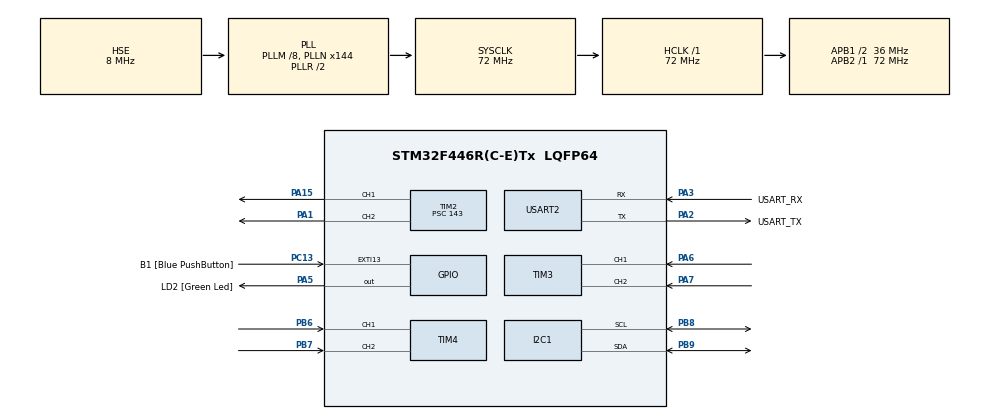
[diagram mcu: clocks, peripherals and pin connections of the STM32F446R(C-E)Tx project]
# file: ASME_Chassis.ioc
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Mcu.Family=STM32F4
Mcu.Name=STM32F446R(C-E)Tx
Mcu.Package=LQFP64
NVIC.PriorityGroup=NVIC_PRIORITYGROUP_0
NVIC.TIM3_IRQn=true\:0\:0\:false\:false\:true\:true\:true\:true
NVIC.TIM4_IRQn=true\:0\:0\:false\:false\:true\:true\:true\:true
PA1.Signal=S_TIM2_CH2
PA13.GPIO_Label=TMS
PA13.Mode=Serial_Wire
PA13.Signal=SYS_JTMS-SWDIO
PA14.GPIO_Label=TCK
PA14.Mode=Serial_Wire
PA14.Signal=SYS_JTCK-SWCLK
PA15.Signal=S_TIM2_CH1_ETR
PA2.GPIO_Label=USART_TX
PA2.Mode=Asynchronous
PA2.Signal=USART2_TX
PA3.GPIO_Label=USART_RX
PA3.Mode=Asynchronous
PA3.Signal=USART2_RX
PA5.GPIO_Label=LD2 [Green Led]
PA5.Signal=GPIO_Output
PA6.GPIO_PuPd=GPIO_PULLUP
PA6.Signal=S_TIM3_CH1
PA7.GPIO_PuPd=GPIO_PULLUP
PA7.Signal=S_TIM3_CH2
PB3.GPIO_Label=SWO
PB3.Signal=SYS_JTDO-SWO
PB6.GPIO_PuPd=GPIO_PULLUP
PB6.Signal=S_TIM4_CH1
PB7.GPIO_PuPd=GPIO_PULLUP
PB7.Signal=S_TIM4_CH2
PB8.Mode=I2C
PB8.Signal=I2C1_SCL
PB9.Mode=I2C
PB9.Signal=I2C1_SDA
PC13.GPIO_Label=B1 [Blue PushButton]
PC13.GPIO_ModeDefaultEXTI=GPIO_MODE_IT_FALLING
PC13.Signal=GPXTI13
PC14-OSC32_IN.Mode=LSE-External-Oscillator
PC14-OSC32_IN.Signal=RCC_OSC32_IN
PC15-OSC32_OUT.Mode=LSE-External-Oscillator
PC15-OSC32_OUT.Signal=RCC_OSC32_OUT
PH0-OSC_IN.Mode=HSE-External-Oscillator
PH0-OSC_IN.Signal=RCC_OSC_IN
PH1-OSC_OUT.Mode=HSE-External-Oscillator
PH1-OSC_OUT.Signal=RCC_OSC_OUT
ProjectManager.HeapSize=0x200
ProjectManager.StackSize=0x400
ProjectManager.TargetToolchain=CMake
RCC.48MHZClocksFreq_Value=84000000
RCC.AHBFreq_Value=72000000
RCC.APB1CLKDivider=RCC_HCLK_DIV2
RCC.APB1Freq_Value=36000000
RCC.APB1TimFreq_Value=72000000
RCC.APB2Freq_Value=72000000
RCC.APB2TimFreq_Value=72000000
RCC.CortexFreq_Value=72000000
RCC.FLatency-AdvancedSettings=FLASH_LATENCY_2
RCC.HCLKFreq_Value=72000000
RCC.HSE_VALUE=8000000
RCC.HSI_VALUE=16000000
RCC.PLLM=8
RCC.PLLN=144
RCC.PLLP=RCC_PLLP_DIV4
RCC.PLLSourceVirtual=RCC_PLLSOURCE_HSE
RCC.SYSCLKFreq_VALUE=72000000
RCC.SYSCLKSource=RCC_SYSCLKSOURCE_PLLRCLK
RCC.USBFreq_Value=72000000
RCC.VCOOutputFreq_Value=144000000
SH.S_TIM2_CH1_ETR.0=TIM2_CH1,PWM Generation1 CH1
SH.S_TIM2_CH2.0=TIM2_CH2,PWM Generation2 CH2
SH.S_TIM3_CH1.0=TIM3_CH1,Encoder_Interface
SH.S_TIM3_CH2.0=TIM3_CH2,Encoder_Interface
SH.S_TIM4_CH1.0=TIM4_CH1,Encoder_Interface
SH.S_TIM4_CH2.0=TIM4_CH2,Encoder_Interface
TIM2.AutoReloadPreload=TIM_AUTORELOAD_PRELOAD_ENABLE
TIM2.Channel-PWM\ Generation1\ CH1=TIM_CHANNEL_1
TIM2.Channel-PWM\ Generation2\ CH2=TIM_CHANNEL_2
TIM2.ClockDivision=TIM_CLOCKDIVISION_DIV1
TIM2.CounterMode=TIM_COUNTERMODE_UP
TIM2.OC1Preload_PWM=DISABLE
TIM2.OCPolarity_1=TIM_OCPOLARITY_LOW
TIM2.Period=9999
TIM2.Prescaler=143
TIM3.EncoderMode=TIM_ENCODERMODE_TI12
TIM4.EncoderMode=TIM_ENCODERMODE_TI12
USART2.VirtualMode=VM_ASYNC
VP_TIM2_VS_ClockSourceINT.Mode=Internal
board=NUCLEO-F446RE

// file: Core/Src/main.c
/* USER CODE BEGIN Header */
/**
  ******************************************************************************
  * @file           : main.c
  * @brief          : Main program body
  ******************************************************************************
  * @attention
  *
  * Copyright (c) 2025 STMicroelectronics.
  * All rights reserved.
  *
  * This software is licensed under terms that can be found in the LICENSE file
  * in the root directory of this software component.
  * If no LICENSE file comes with this software, it is provided AS-IS.
  *
  ******************************************************************************
  */
/* USER CODE END Header */
#include "main.h"

/* USER CODE BEGIN Includes */
#include "PID.h"
#include "VL53L0X.h"
#include "L298N.h"
/* USER CODE END Includes */

I2C_HandleTypeDef hi2c1;

TIM_HandleTypeDef htim2;
TIM_HandleTypeDef htim3;
TIM_HandleTypeDef htim4;

UART_HandleTypeDef huart2;

/* USER CODE BEGIN PV */
double check = 0;
/* USER CODE END PV */

void SystemClock_Config(void);
static void MX_GPIO_Init(void);
static void MX_USART2_UART_Init(void);
static void MX_I2C1_Init(void);
static void MX_TIM2_Init(void);
static void MX_TIM3_Init(void);
static void MX_TIM4_Init(void);

int main(void)
{

  /* MCU Configuration--------------------------------------------------------*/

  /* Reset of all peripherals, Initializes the Flash interface and the Systick. */
  HAL_Init();

  /* Configure the system clock */
  SystemClock_Config();

  /* Initialize all configured peripherals */
  MX_GPIO_Init();
  MX_USART2_UART_Init();
  MX_I2C1_Init();
  MX_TIM2_Init();
  MX_TIM3_Init();
  MX_TIM4_Init();
  /* USER CODE BEGIN 2 */

  // Encoder start
  HAL_TIM_Encoder_Start(&htim3, TIM_CHANNEL_ALL);
  HAL_TIM_Encoder_Start(&htim4, TIM_CHANNEL_ALL);

  // Wheel speed variables
  int left_wheel_speed = 0;
  int right_wheel_speed = 0;

  // 初始化 PID：給定 Kp, Ki, Kd, 輸出上下限

  PIDController_t pid;
  PID_Init(&pid, 1.0, 0.1, 0.1, -100.0, 100.0);//Kp, Ki, Kd, outputMin, outputMax

  float targetDistance = 0; // target distance
  double currentDistance = 500;
  float dt = 0.01;          // 10 ms per control cycle
  float duty_ratio = 60;    // init duty ratio
/*
	// Initialize the VL53L0X
	statInfo_t_VL53L0X distanceStr;
	initVL53L0X(1, &hi2c1);
  check = 11;

	// Configure the sensor for high accuracy and speed in 20 cm.
	setSignalRateLimit(100);
  check = 12;
	setVcselPulsePeriod(VcselPeriodPreRange, 18);
  check = 20;
	setVcselPulsePeriod(VcselPeriodFinalRange, 14);
  check = 30;
	setMeasurementTimingBudget(300 * 1000UL);
*/

  /* USER CODE END 2 */

  /* Infinite loop */
  /* USER CODE BEGIN WHILE */
  while (1)
  {

    // Read the distance from the sensor
    //currentDistance = readRangeSingleMillimeters(&distanceStr);

    // Compute the PID output
    float PID_output = PID_Compute(&pid, targetDistance, currentDistance, dt);
    duty_ratio += PID_output;

    // Set the limit of duty ratio
    if (duty_ratio > 100)
    {
        duty_ratio = 100;
    }
    else if (duty_ratio < 0)
    {
        duty_ratio = 0;
    }

    check = PID_output;

    // Set the motor speed
    Speed_setting(htim2, 60, 0);

    // Delay for 10 ms
    HAL_Delay(10);

    /* USER CODE END WHILE */

  }
}

void SystemClock_Config(void)
{
  RCC_OscInitTypeDef RCC_OscInitStruct = {0};
  RCC_ClkInitTypeDef RCC_ClkInitStruct = {0};

  /** Configure the main internal regulator output voltage
  */
  __HAL_RCC_PWR_CLK_ENABLE();
  __HAL_PWR_VOLTAGESCALING_CONFIG(PWR_REGULATOR_VOLTAGE_SCALE3);

  /** Initializes the RCC Oscillators according to the specified parameters
  * in the RCC_OscInitTypeDef structure.
  */
  RCC_OscInitStruct.OscillatorType = RCC_OSCILLATORTYPE_HSE;
  RCC_OscInitStruct.HSEState = RCC_HSE_ON;
  RCC_OscInitStruct.PLL.PLLState = RCC_PLL_ON;
  RCC_OscInitStruct.PLL.PLLSource = RCC_PLLSOURCE_HSE;
  RCC_OscInitStruct.PLL.PLLM = 8;
  RCC_OscInitStruct.PLL.PLLN = 144;
  RCC_OscInitStruct.PLL.PLLP = RCC_PLLP_DIV4;
  RCC_OscInitStruct.PLL.PLLQ = 2;
  RCC_OscInitStruct.PLL.PLLR = 2;
  if (HAL_RCC_OscConfig(&RCC_OscInitStruct) != HAL_OK)
  {
    Error_Handler();
  }

  /** Initializes the CPU, AHB and APB buses clocks
  */
  RCC_ClkInitStruct.ClockType = RCC_CLOCKTYPE_HCLK|RCC_CLOCKTYPE_SYSCLK
                              |RCC_CLOCKTYPE_PCLK1|RCC_CLOCKTYPE_PCLK2;
  RCC_ClkInitStruct.SYSCLKSource = RCC_SYSCLKSOURCE_PLLRCLK;
  RCC_ClkInitStruct.AHBCLKDivider = RCC_SYSCLK_DIV1;
  RCC_ClkInitStruct.APB1CLKDivider = RCC_HCLK_DIV2;
  RCC_ClkInitStruct.APB2CLKDivider = RCC_HCLK_DIV1;

  if (HAL_RCC_ClockConfig(&RCC_ClkInitStruct, FLASH_LATENCY_2) != HAL_OK)
  {
    Error_Handler();
  }
}

static void MX_I2C1_Init(void)
{

  hi2c1.Instance = I2C1;
  hi2c1.Init.ClockSpeed = 100000;
  hi2c1.Init.DutyCycle = I2C_DUTYCYCLE_2;
  hi2c1.Init.OwnAddress1 = 0;
  hi2c1.Init.AddressingMode = I2C_ADDRESSINGMODE_7BIT;
  hi2c1.Init.DualAddressMode = I2C_DUALADDRESS_DISABLE;
  hi2c1.Init.OwnAddress2 = 0;
  hi2c1.Init.GeneralCallMode = I2C_GENERALCALL_DISABLE;
  hi2c1.Init.NoStretchMode = I2C_NOSTRETCH_DISABLE;
  if (HAL_I2C_Init(&hi2c1) != HAL_OK)
  {
    Error_Handler();
  }

}

static void MX_TIM2_Init(void)
{

  TIM_ClockConfigTypeDef sClockSourceConfig = {0};
  TIM_MasterConfigTypeDef sMasterConfig = {0};
  TIM_OC_InitTypeDef sConfigOC = {0};

  htim2.Instance = TIM2;
  htim2.Init.Prescaler = 143;
  htim2.Init.CounterMode = TIM_COUNTERMODE_UP;
  htim2.Init.Period = 9999;
  htim2.Init.ClockDivision = TIM_CLOCKDIVISION_DIV1;
  htim2.Init.AutoReloadPreload = TIM_AUTORELOAD_PRELOAD_ENABLE;
  if (HAL_TIM_Base_Init(&htim2) != HAL_OK)
  {
    Error_Handler();
  }
  sClockSourceConfig.ClockSource = TIM_CLOCKSOURCE_INTERNAL;
  if (HAL_TIM_ConfigClockSource(&htim2, &sClockSourceConfig) != HAL_OK)
  {
    Error_Handler();
  }
  if (HAL_TIM_PWM_Init(&htim2) != HAL_OK)
  {
    Error_Handler();
  }
  sMasterConfig.MasterOutputTrigger = TIM_TRGO_RESET;
  sMasterConfig.MasterSlaveMode = TIM_MASTERSLAVEMODE_DISABLE;
  if (HAL_TIMEx_MasterConfigSynchronization(&htim2, &sMasterConfig) != HAL_OK)
  {
    Error_Handler();
  }
  sConfigOC.OCMode = TIM_OCMODE_PWM1;
  sConfigOC.Pulse = 0;
  sConfigOC.OCPolarity = TIM_OCPOLARITY_LOW;
  sConfigOC.OCFastMode = TIM_OCFAST_DISABLE;
  if (HAL_TIM_PWM_ConfigChannel(&htim2, &sConfigOC, TIM_CHANNEL_1) != HAL_OK)
  {
    Error_Handler();
  }
  __HAL_TIM_DISABLE_OCxPRELOAD(&htim2, TIM_CHANNEL_1);
  sConfigOC.OCPolarity = TIM_OCPOLARITY_HIGH;
  if (HAL_TIM_PWM_ConfigChannel(&htim2, &sConfigOC, TIM_CHANNEL_2) != HAL_OK)
  {
    Error_Handler();
  }
  HAL_TIM_MspPostInit(&htim2);

}

static void MX_TIM3_Init(void)
{

  TIM_Encoder_InitTypeDef sConfig = {0};
  TIM_MasterConfigTypeDef sMasterConfig = {0};

  htim3.Instance = TIM3;
  htim3.Init.Prescaler = 0;
  htim3.Init.CounterMode = TIM_COUNTERMODE_UP;
  htim3.Init.Period = 65535;
  htim3.Init.ClockDivision = TIM_CLOCKDIVISION_DIV1;
  htim3.Init.AutoReloadPreload = TIM_AUTORELOAD_PRELOAD_DISABLE;
  sConfig.EncoderMode = TIM_ENCODERMODE_TI12;
  sConfig.IC1Polarity = TIM_ICPOLARITY_RISING;
  sConfig.IC1Selection = TIM_ICSELECTION_DIRECTTI;
  sConfig.IC1Prescaler = TIM_ICPSC_DIV1;
  sConfig.IC1Filter = 0;
  sConfig.IC2Polarity = TIM_ICPOLARITY_RISING;
  sConfig.IC2Selection = TIM_ICSELECTION_DIRECTTI;
  sConfig.IC2Prescaler = TIM_ICPSC_DIV1;
  sConfig.IC2Filter = 0;
  if (HAL_TIM_Encoder_Init(&htim3, &sConfig) != HAL_OK)
  {
    Error_Handler();
  }
  sMasterConfig.MasterOutputTrigger = TIM_TRGO_RESET;
  sMasterConfig.MasterSlaveMode = TIM_MASTERSLAVEMODE_DISABLE;
  if (HAL_TIMEx_MasterConfigSynchronization(&htim3, &sMasterConfig) != HAL_OK)
  {
    Error_Handler();
  }

}

static void MX_TIM4_Init(void)
{

  TIM_Encoder_InitTypeDef sConfig = {0};
  TIM_MasterConfigTypeDef sMasterConfig = {0};

  htim4.Instance = TIM4;
  htim4.Init.Prescaler = 0;
  htim4.Init.CounterMode = TIM_COUNTERMODE_UP;
  htim4.Init.Period = 65535;
  htim4.Init.ClockDivision = TIM_CLOCKDIVISION_DIV1;
  htim4.Init.AutoReloadPreload = TIM_AUTORELOAD_PRELOAD_DISABLE;
  sConfig.EncoderMode = TIM_ENCODERMODE_TI12;
  sConfig.IC1Polarity = TIM_ICPOLARITY_RISING;
  sConfig.IC1Selection = TIM_ICSELECTION_DIRECTTI;
  sConfig.IC1Prescaler = TIM_ICPSC_DIV1;
  sConfig.IC1Filter = 0;
  sConfig.IC2Polarity = TIM_ICPOLARITY_RISING;
  sConfig.IC2Selection = TIM_ICSELECTION_DIRECTTI;
  sConfig.IC2Prescaler = TIM_ICPSC_DIV1;
  sConfig.IC2Filter = 0;
  if (HAL_TIM_Encoder_Init(&htim4, &sConfig) != HAL_OK)
  {
    Error_Handler();
  }
  sMasterConfig.MasterOutputTrigger = TIM_TRGO_RESET;
  sMasterConfig.MasterSlaveMode = TIM_MASTERSLAVEMODE_DISABLE;
  if (HAL_TIMEx_MasterConfigSynchronization(&htim4, &sMasterConfig) != HAL_OK)
  {
    Error_Handler();
  }

}

static void MX_USART2_UART_Init(void)
{

  huart2.Instance = USART2;
  huart2.Init.BaudRate = 115200;
  huart2.Init.WordLength = UART_WORDLENGTH_8B;
  huart2.Init.StopBits = UART_STOPBITS_1;
  huart2.Init.Parity = UART_PARITY_NONE;
  huart2.Init.Mode = UART_MODE_TX_RX;
  huart2.Init.HwFlowCtl = UART_HWCONTROL_NONE;
  huart2.Init.OverSampling = UART_OVERSAMPLING_16;
  if (HAL_UART_Init(&huart2) != HAL_OK)
  {
    Error_Handler();
  }

}

static void MX_GPIO_Init(void)
{
  GPIO_InitTypeDef GPIO_InitStruct = {0};

  /* GPIO Ports Clock Enable */
  __HAL_RCC_GPIOC_CLK_ENABLE();
  __HAL_RCC_GPIOH_CLK_ENABLE();
  __HAL_RCC_GPIOA_CLK_ENABLE();
  __HAL_RCC_GPIOB_CLK_ENABLE();

  /*Configure GPIO pin Output Level */
  HAL_GPIO_WritePin(LD2_GPIO_Port, LD2_Pin, GPIO_PIN_RESET);

  /*Configure GPIO pin : B1_Pin */
  GPIO_InitStruct.Pin = B1_Pin;
  GPIO_InitStruct.Mode = GPIO_MODE_IT_FALLING;
  GPIO_InitStruct.Pull = GPIO_NOPULL;
  HAL_GPIO_Init(B1_GPIO_Port, &GPIO_InitStruct);

  /*Configure GPIO pin : LD2_Pin */
  GPIO_InitStruct.Pin = LD2_Pin;
  GPIO_InitStruct.Mode = GPIO_MODE_OUTPUT_PP;
  GPIO_InitStruct.Pull = GPIO_NOPULL;
  GPIO_InitStruct.Speed = GPIO_SPEED_FREQ_LOW;
  HAL_GPIO_Init(LD2_GPIO_Port, &GPIO_InitStruct);

}

void Error_Handler(void)
{
  __disable_irq();
  while (1)
  {
  }
}
